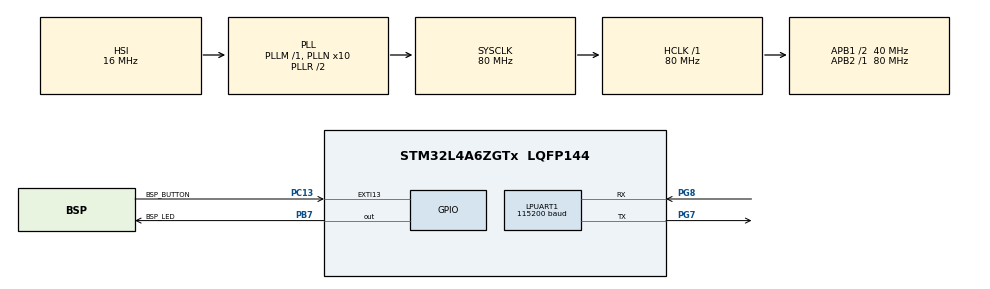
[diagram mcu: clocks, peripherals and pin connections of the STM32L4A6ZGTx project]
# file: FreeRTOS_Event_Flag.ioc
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FREERTOS.Events01=Event_1,Dynamic,NULL
FREERTOS.Tasks01=Task_1,24,128,Start_Task_1,Default,NULL,Dynamic,NULL,NULL;Task_2,24,128,Start_Task_2,Default,NULL,Dynamic,NULL,NULL
FREERTOS.configUSE_NEWLIB_REENTRANT=1
LPUART1.BaudRate=115200
LPUART1.WordLength=UART_WORDLENGTH_8B
Mcu.Family=STM32L4
Mcu.Name=STM32L4A6ZGTx
Mcu.Package=LQFP144
NVIC.EXTI15_10_IRQn=true\:5\:0\:true\:false\:true\:false\:true\:true\:true
NVIC.PriorityGroup=NVIC_PRIORITYGROUP_4
NVIC.TIM6_DAC_IRQn=true\:15\:0\:false\:false\:true\:false\:false\:true\:true
NVIC.TimeBase=TIM6_DAC_IRQn
NVIC.TimeBaseIP=TIM6
PA13\ (JTMS/SWDIO).Mode=Serial_Wire
PA13\ (JTMS/SWDIO).Signal=SYS_JTMS-SWDIO
PA14\ (JTCK/SWCLK).Mode=Serial_Wire
PA14\ (JTCK/SWCLK).Signal=SYS_JTCK-SWCLK
PB7.GPIO_Label=BSP_LED
PB7.Signal=GPIO_Output
PC13.GPIO_Label=BSP_BUTTON
PC13.Signal=GPXTI13
PG7.Mode=Asynchronous
PG7.Signal=LPUART1_TX
PG8.Mode=Asynchronous
PG8.Signal=LPUART1_RX
ProjectManager.HeapSize=0x200
ProjectManager.StackSize=0x400
ProjectManager.TargetToolchain=STM32CubeIDE
RCC.ADCFreq_Value=192000000
RCC.AHBFreq_Value=80000000
RCC.APB1CLKDivider=RCC_HCLK_DIV2
RCC.APB1Freq_Value=40000000
RCC.APB1TimFreq_Value=80000000
RCC.APB2Freq_Value=80000000
RCC.APB2TimFreq_Value=80000000
RCC.CortexFreq_Value=80000000
RCC.FLatency=FLASH_LATENCY_4
RCC.HCLKFreq_Value=80000000
RCC.HSE_VALUE=8000000
RCC.HSI48_VALUE=48000000
RCC.HSI_VALUE=16000000
RCC.LSE_VALUE=32768
RCC.MSI_VALUE=4000000
RCC.PLLN=10
RCC.PLLSAI1N=24
RCC.PLLSourceVirtual=RCC_PLLSOURCE_HSI
RCC.SYSCLKFreq_VALUE=80000000
RCC.SYSCLKSource=RCC_SYSCLKSOURCE_PLLCLK
RCC.USBFreq_Value=192000000
RCC.VCOOutputFreq_Value=160000000
VP_FREERTOS_VS_CMSIS_V2.Mode=CMSIS_V2
VP_SYS_VS_tim6.Mode=TIM6
board=NUCLEO-L4A6ZG

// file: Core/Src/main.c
/* USER CODE BEGIN Header */
/**
  ******************************************************************************
  * @file           : main.c
  * @brief          : Main program body
  ******************************************************************************
  * @attention
  *
  * Copyright (c) 2024 STMicroelectronics.
  * All rights reserved.
  *
  * This software is licensed under terms that can be found in the LICENSE file
  * in the root directory of this software component.
  * If no LICENSE file comes with this software, it is provided AS-IS.
  *
  ******************************************************************************
  */
/* USER CODE END Header */
#include "main.h"
#include "cmsis_os.h"

/* USER CODE BEGIN Includes */
#include <stdio.h>
/* USER CODE END Includes */

UART_HandleTypeDef hlpuart1;

/* Definitions for Task_1 */
osThreadId_t Task_1Handle;
const osThreadAttr_t Task_1_attributes = {
  .name = "Task_1",
  .stack_size = 128 * 4,
  .priority = (osPriority_t) osPriorityNormal,
};
/* Definitions for Task_2 */
osThreadId_t Task_2Handle;
const osThreadAttr_t Task_2_attributes = {
  .name = "Task_2",
  .stack_size = 128 * 4,
  .priority = (osPriority_t) osPriorityNormal,
};
/* Definitions for Event_1 */
osEventFlagsId_t Event_1Handle;
const osEventFlagsAttr_t Event_1_attributes = {
  .name = "Event_1"
};
/* USER CODE BEGIN PV */
osEventFlagsId_t EventGroup1;
volatile uint32_t last_time = 0;
const uint32_t debounce_time = 250;
/* USER CODE END PV */

void SystemClock_Config(void);
static void MX_GPIO_Init(void);
static void MX_LPUART1_UART_Init(void);
void Start_Task_1(void *argument);
void Start_Task_2(void *argument);

int main(void)
{

  /* MCU Configuration--------------------------------------------------------*/

  /* Reset of all peripherals, Initializes the Flash interface and the Systick. */
  HAL_Init();

  /* Configure the system clock */
  SystemClock_Config();

  /* Initialize all configured peripherals */
  MX_GPIO_Init();
  MX_LPUART1_UART_Init();

  /* Init scheduler */
  osKernelInitialize();

  /* Create the thread(s) */
  /* creation of Task_1 */
  Task_1Handle = osThreadNew(Start_Task_1, NULL, &Task_1_attributes);

  /* creation of Task_2 */
  Task_2Handle = osThreadNew(Start_Task_2, NULL, &Task_2_attributes);

  /* USER CODE BEGIN RTOS_THREADS */
  /* add threads, ... */
  EventGroup1 = osEventFlagsNew(NULL);
  /* USER CODE END RTOS_THREADS */

  /* Create the event(s) */
  /* creation of Event_1 */
  Event_1Handle = osEventFlagsNew(&Event_1_attributes);

  /* Start scheduler */
  osKernelStart();

  /* We should never get here as control is now taken by the scheduler */
  /* Infinite loop */
  while (1)
  {

  }
}

void SystemClock_Config(void)
{
  RCC_OscInitTypeDef RCC_OscInitStruct = {0};
  RCC_ClkInitTypeDef RCC_ClkInitStruct = {0};

  /** Configure the main internal regulator output voltage
  */
  if (HAL_PWREx_ControlVoltageScaling(PWR_REGULATOR_VOLTAGE_SCALE1) != HAL_OK)
  {
    Error_Handler();
  }

  /** Initializes the RCC Oscillators according to the specified parameters
  * in the RCC_OscInitTypeDef structure.
  */
  RCC_OscInitStruct.OscillatorType = RCC_OSCILLATORTYPE_HSI;
  RCC_OscInitStruct.HSIState = RCC_HSI_ON;
  RCC_OscInitStruct.HSICalibrationValue = RCC_HSICALIBRATION_DEFAULT;
  RCC_OscInitStruct.PLL.PLLState = RCC_PLL_ON;
  RCC_OscInitStruct.PLL.PLLSource = RCC_PLLSOURCE_HSI;
  RCC_OscInitStruct.PLL.PLLM = 1;
  RCC_OscInitStruct.PLL.PLLN = 10;
  RCC_OscInitStruct.PLL.PLLP = RCC_PLLP_DIV2;
  RCC_OscInitStruct.PLL.PLLQ = RCC_PLLQ_DIV2;
  RCC_OscInitStruct.PLL.PLLR = RCC_PLLR_DIV2;
  if (HAL_RCC_OscConfig(&RCC_OscInitStruct) != HAL_OK)
  {
    Error_Handler();
  }

  /** Initializes the CPU, AHB and APB buses clocks
  */
  RCC_ClkInitStruct.ClockType = RCC_CLOCKTYPE_HCLK|RCC_CLOCKTYPE_SYSCLK
                              |RCC_CLOCKTYPE_PCLK1|RCC_CLOCKTYPE_PCLK2;
  RCC_ClkInitStruct.SYSCLKSource = RCC_SYSCLKSOURCE_PLLCLK;
  RCC_ClkInitStruct.AHBCLKDivider = RCC_SYSCLK_DIV1;
  RCC_ClkInitStruct.APB1CLKDivider = RCC_HCLK_DIV2;
  RCC_ClkInitStruct.APB2CLKDivider = RCC_HCLK_DIV1;

  if (HAL_RCC_ClockConfig(&RCC_ClkInitStruct, FLASH_LATENCY_4) != HAL_OK)
  {
    Error_Handler();
  }
}

static void MX_LPUART1_UART_Init(void)
{

  hlpuart1.Instance = LPUART1;
  hlpuart1.Init.BaudRate = 115200;
  hlpuart1.Init.WordLength = UART_WORDLENGTH_8B;
  hlpuart1.Init.StopBits = UART_STOPBITS_1;
  hlpuart1.Init.Parity = UART_PARITY_NONE;
  hlpuart1.Init.Mode = UART_MODE_TX_RX;
  hlpuart1.Init.HwFlowCtl = UART_HWCONTROL_NONE;
  hlpuart1.Init.OneBitSampling = UART_ONE_BIT_SAMPLE_DISABLE;
  hlpuart1.AdvancedInit.AdvFeatureInit = UART_ADVFEATURE_NO_INIT;
  if (HAL_UART_Init(&hlpuart1) != HAL_OK)
  {
    Error_Handler();
  }

}

static void MX_GPIO_Init(void)
{
  GPIO_InitTypeDef GPIO_InitStruct = {0};

  /* GPIO Ports Clock Enable */
  __HAL_RCC_GPIOC_CLK_ENABLE();
  __HAL_RCC_GPIOG_CLK_ENABLE();
  HAL_PWREx_EnableVddIO2();
  __HAL_RCC_GPIOA_CLK_ENABLE();
  __HAL_RCC_GPIOB_CLK_ENABLE();

  /*Configure GPIO pin Output Level */
  HAL_GPIO_WritePin(BSP_LED_GPIO_Port, BSP_LED_Pin, GPIO_PIN_RESET);

  /*Configure GPIO pin : BSP_BUTTON_Pin */
  GPIO_InitStruct.Pin = BSP_BUTTON_Pin;
  GPIO_InitStruct.Mode = GPIO_MODE_IT_RISING;
  GPIO_InitStruct.Pull = GPIO_NOPULL;
  HAL_GPIO_Init(BSP_BUTTON_GPIO_Port, &GPIO_InitStruct);

  /*Configure GPIO pin : BSP_LED_Pin */
  GPIO_InitStruct.Pin = BSP_LED_Pin;
  GPIO_InitStruct.Mode = GPIO_MODE_OUTPUT_PP;
  GPIO_InitStruct.Pull = GPIO_NOPULL;
  GPIO_InitStruct.Speed = GPIO_SPEED_FREQ_LOW;
  HAL_GPIO_Init(BSP_LED_GPIO_Port, &GPIO_InitStruct);

  /* EXTI interrupt init*/
  HAL_NVIC_SetPriority(EXTI15_10_IRQn, 5, 0);
  HAL_NVIC_EnableIRQ(EXTI15_10_IRQn);

}

/* USER CODE BEGIN 4 */
void HAL_GPIO_EXTI_Callback(uint16_t GPIO_Pin)
{
	uint32_t curr_time = HAL_GetTick();
	if(GPIO_Pin == GPIO_PIN_13)
	{
		if((last_time - curr_time ) >= debounce_time)
		{
			osEventFlagsSet(EventGroup1, 0x50);
			printf("button pressed\r\n");
		}
	}

}
/* USER CODE END 4 */

void Start_Task_1(void *argument)
{
  /* USER CODE BEGIN 5 */
  /* Infinite loop */
  for(;;)
  {
	osEventFlagsWait(EventGroup1, 0x51, osFlagsWaitAll, osWaitForever);
	printf("Task-1\r\n");
	HAL_GPIO_WritePin(GPIOB, GPIO_PIN_7,GPIO_PIN_SET);
	osDelay(2000);
	HAL_GPIO_WritePin(GPIOB, GPIO_PIN_7,GPIO_PIN_RESET);
//	osDelay(2000);
  }
  /* USER CODE END 5 */
}

void Start_Task_2(void *argument)
{
  /* USER CODE BEGIN Start_Task_2 */
  /* Infinite loop */
  for(;;)
  {
	osEventFlagsSet(EventGroup1, 1);
	printf("Press External Button to Set Event Flag\r\n");
    osDelay(3000);
  }
  /* USER CODE END Start_Task_2 */
}

void HAL_TIM_PeriodElapsedCallback(TIM_HandleTypeDef *htim)
{
  if (htim->Instance == TIM6) {
    HAL_IncTick();
  }
}

void Error_Handler(void)
{
  __disable_irq();
  while (1)
  {
  }
}
